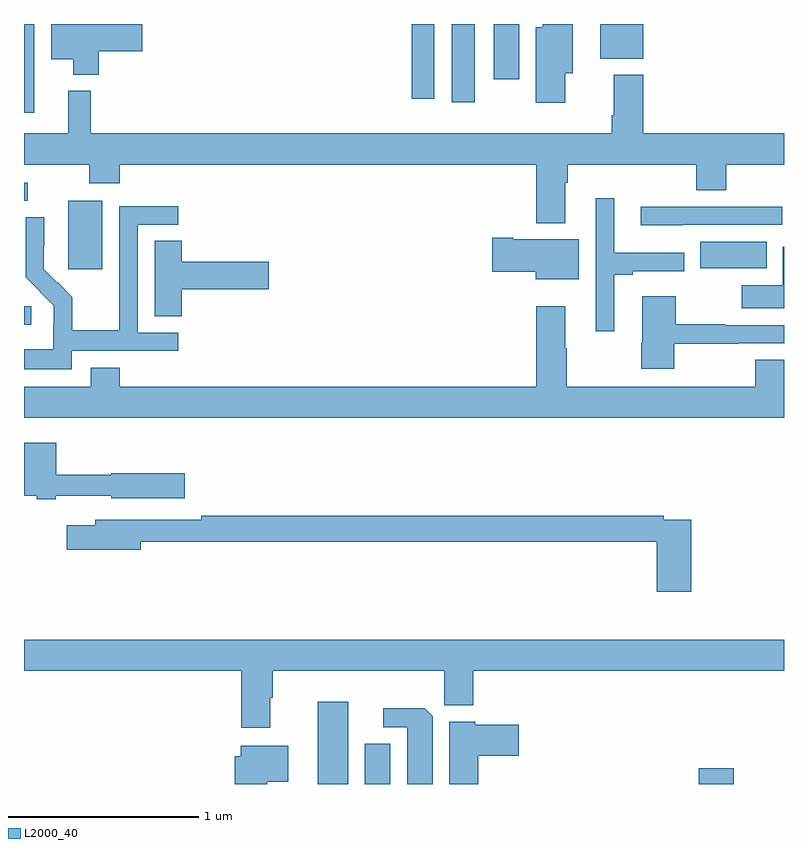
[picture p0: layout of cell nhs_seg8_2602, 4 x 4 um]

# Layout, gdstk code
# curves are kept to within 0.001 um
import gdstk
lib = gdstk.Library(unit=1e-6, precision=1e-09)
def R(c, l, rs):  # rectangles x0, y0, x1, y1
    for r in rs: c.add(gdstk.rectangle(r[:2], r[2:], *l))
def P(c, l, *ps):  # polygons
    for p in ps: c.add(gdstk.Polygon(p, *l))
L2000_40 = (2000, 40)

nhs_seg8_2602 = lib.new_cell('nhs_seg8_2602')
R(nhs_seg8_2602, L2000_40, [(276.545,1119.9,276.706,1120.333), (276.794,1119.9,276.928,1120.111), (278.552,1119.9,278.735,1119.982), (275,1122.317,275.038,1122.414), (275.234,1122.609,275.413,1122.97), (278.56,1122.614,278.909,1122.754), (275,1122.969,275.02,1123.065), (275,1123.434,275.055,1123.9), (277.25,1123.488,277.372,1123.9), (277.042,1123.506,277.158,1123.9), (277.472,1123.608,277.606,1123.9), (278.033,1123.718,278.26,1123.9)])
P(nhs_seg8_2602, L2000_40, [(277.849,1123.64),(277.888,1123.64),(277.888,1123.9),(277.73,1123.9),(277.73,1123.882),(277.694,1123.882),(277.694,1123.485),(277.849,1123.485)],
  [(275.393,1123.756),(275.623,1123.756),(275.623,1123.898),(275.376,1123.898),(275.376,1123.9),(275.144,1123.9),(275.144,1123.715),(275.258,1123.715),(275.258,1123.634),(275.393,1123.634)],
  [(277.849,1123.064),(277.862,1123.064),(277.862,1123.16),(278.537,1123.16),(278.537,1123.024),(278.697,1123.024),(278.697,1123.16),(279,1123.16),(279,1123.324),(278.258,1123.324),(278.258,1123.633),(278.105,1123.633),(278.105,1123.42),(278.093,1123.42),(278.093,1123.324),(275.351,1123.324),(275.351,1123.549),(275.234,1123.549),(275.234,1123.324),(275,1123.324),(275,1123.16),(275.344,1123.16),(275.344,1123.061),(275.504,1123.061),(275.504,1123.16),(277.697,1123.16),(277.697,1122.851),(277.849,1122.851)],
  [(278.107,1122.58),(278.203,1122.58),(278.203,1122.599),(278.475,1122.599),(278.475,1122.697),(278.107,1122.697),(278.107,1122.982),(278.01,1122.982),(278.01,1122.503),(278.009,1122.503),(278.009,1122.282),(278.107,1122.282)],
  [(275.25,1122.18),(275.812,1122.18),(275.812,1122.276),(275.598,1122.276),(275.598,1122.843),(275.812,1122.843),(275.812,1122.942),(275.502,1122.942),(275.502,1122.512),(275.5,1122.512),(275.5,1122.289),(275.255,1122.289),(275.255,1122.463),(275.178,1122.54),(275.175,1122.537),(275.105,1122.608),(275.106,1122.884),(275.01,1122.884),(275.01,1122.566),(275.156,1122.418),(275.156,1122.321),(275.154,1122.321),(275.154,1122.187),(275,1122.187),(275,1122.083),(275.25,1122.083)],
  [(278.466,1122.843),(278.992,1122.843),(278.992,1122.939),(278.247,1122.939),(278.247,1122.842),(278.466,1122.842)],
  [(277.921,1122.766),(277.576,1122.766),(277.576,1122.774),(277.464,1122.774),(277.464,1122.596),(277.694,1122.596),(277.694,1122.557),(277.921,1122.557)],
  [(275.831,1122.503),(276.289,1122.503),(276.289,1122.65),(275.831,1122.65),(275.831,1122.758),(275.687,1122.758),(275.687,1122.361),(275.831,1122.361)],
  [(279,1122.727),(278.994,1122.727),(278.994,1122.526),(278.778,1122.526),(278.778,1122.405),(279,1122.405)],
  [(278.422,1122.217),(278.759,1122.217),(278.759,1122.219),(279,1122.219),(279,1122.315),(278.69,1122.315),(278.69,1122.32),(278.43,1122.32),(278.43,1122.466),(278.255,1122.466),(278.255,1122.222),(278.248,1122.222),(278.248,1122.086),(278.422,1122.086)],
  [(279,1122.134),(278.848,1122.134),(278.848,1121.992),(277.857,1121.992),(277.857,1122.194),(277.849,1122.194),(277.849,1122.415),(277.697,1122.415),(277.697,1121.992),(275.504,1121.992),(275.504,1122.091),(275.351,1122.091),(275.351,1121.992),(275,1121.992),(275,1121.828),(279,1121.828)],
  [(275.166,1121.418),(275.46,1121.418),(275.46,1121.405),(275.845,1121.405),(275.845,1121.535),(275.46,1121.535),(275.46,1121.527),(275.17,1121.527),(275.17,1121.695),(275,1121.695),(275,1121.417),(275.066,1121.417),(275.066,1121.398),(275.166,1121.398)],
  [(278.513,1121.292),(278.366,1121.292),(278.366,1121.312),(275.932,1121.312),(275.932,1121.292),(275.375,1121.292),(275.375,1121.263),(275.226,1121.263),(275.226,1121.134),(275.614,1121.134),(275.614,1121.176),(278.33,1121.176),(278.33,1120.911),(278.513,1120.911)],
  [(276.295,1120.355),(276.308,1120.355),(276.308,1120.496),(277.213,1120.496),(277.213,1120.314),(277.364,1120.314),(277.364,1120.496),(279,1120.496),(279,1120.66),(275,1120.66),(275,1120.496),(276.143,1120.496),(276.143,1120.197),(276.295,1120.197)],
  [(277.15,1120.256),(277.108,1120.298),(276.891,1120.298),(276.891,1120.2),(277.016,1120.2),(277.016,1119.9),(277.15,1119.9)],
  [(277.391,1120.048),(277.603,1120.048),(277.603,1120.213),(277.374,1120.213),(277.374,1120.228),(277.238,1120.228),(277.238,1119.9),(277.391,1119.9)],
  [(276.28,1119.911),(276.391,1119.911),(276.391,1120.102),(276.14,1120.102),(276.14,1120.047),(276.11,1120.047),(276.11,1119.9),(276.28,1119.9)])

lib.write_gds('nhs_seg8_2602.gds')
